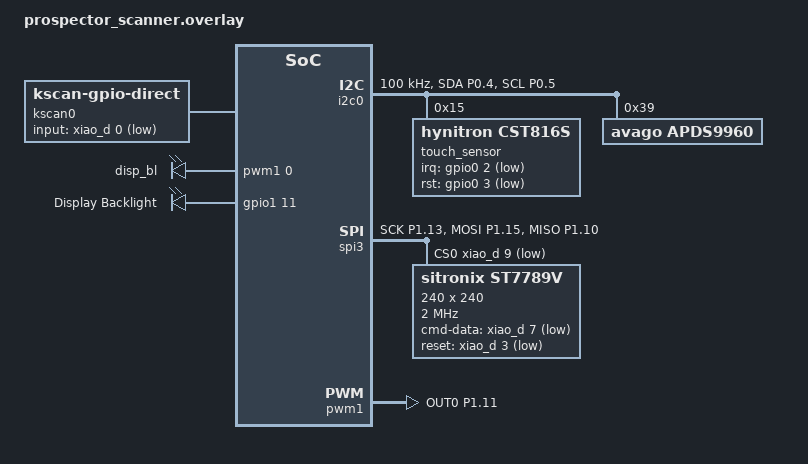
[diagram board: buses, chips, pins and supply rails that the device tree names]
/*
 * Copyright (c) 2024 The ZMK Contributors
 *
 * SPDX-License-Identifier: MIT
 */

#include <dt-bindings/zmk/matrix_transform.h>
#include <dt-bindings/i2c/i2c.h>
#include <physical_layouts.dtsi>


&i2c0 {
   status = "okay";
    touch_sensor: cst816s@15 {
        compatible = "hynitron,cst816s";
        reg = <0x15>;
        status = "okay";
        irq-gpios = <&gpio0 2 GPIO_ACTIVE_LOW>;   // D0 = P0.02
        rst-gpios = <&gpio0 3 GPIO_ACTIVE_LOW>;   // D1 = P0.03
    };
};

/ {
    touch_listener: touch_listener {
        status = "okay";
        compatible = "zmk,input-listener";
        device = <&touch_sensor>;
    };
};



/ {
    chosen {
        zmk,kscan = &kscan0;
        zmk,physical-layout = &default_layout;  // ZMK Studio compatibility: no matrix_transform!
        zephyr,display = &st7789v;
    };

    default_layout: default_layout {
        compatible = "zmk,physical-layout";
        display-name = "Scanner Layout";
        transform = <&default_transform>;

        keys  //                     w   h    x    y     rot    rx    ry
            = <&key_physical_attrs 100 100    0    0      0     0     0>
            ;
    };

    default_transform: keymap_transform_0 {
        compatible = "zmk,matrix-transform";
        columns = <1>;
        rows = <1>;
        map = <RC(0,0)>;
    };

    kscan0: kscan {
        compatible = "zmk,kscan-gpio-direct";
        wakeup-source;
        input-gpios = <&xiao_d 0 (GPIO_ACTIVE_LOW | GPIO_PULL_UP)>;
    };

    // PWM backlight configuration (Pin 6 = P1.11)
    pwmleds {
        compatible = "pwm-leds";
        disp_bl: pwm_led_1 {
            pwms = <&pwm1 0 PWM_MSEC(1) PWM_POLARITY_NORMAL>;  // Channel 0 for P1.11
        };
    };

    // Alternative: Simple GPIO backlight control (Pin 6 = P1.11)
    backlight: backlight {
        compatible = "gpio-leds";
        bl_gpio: backlight_gpio {
            gpios = <&gpio1 11 GPIO_ACTIVE_HIGH>;  // P1.11 for Pin 6
            label = "Display Backlight";
        };
    };

    // Ambient light sensor (optional)
    aliases {
        als = &apds9960;
    };
};

// Disable default SPI2 to avoid conflicts
&spi2 {
    status = "disabled";
};

// Custom pinctrl configuration to match original adapter
&pinctrl {
    spi3_default: spi3_default {
        group1 {
            psels = <NRF_PSEL(SPIM_SCK, 1, 13)>,
                <NRF_PSEL(SPIM_MOSI, 1, 15)>,
                <NRF_PSEL(SPIM_MISO, 1, 10)>;
        };
    };

    spi3_sleep: spi3_sleep {
        group1 {
            psels = <NRF_PSEL(SPIM_SCK, 1, 13)>,
                <NRF_PSEL(SPIM_MOSI, 1, 15)>,
                <NRF_PSEL(SPIM_MISO, 1, 10)>;
            low-power-enable;
        };
    };

    pwm1_default: pwm1_default {
        group1 {
            psels = <NRF_PSEL(PWM_OUT0, 1, 11)>;  // Pin 6 (D6) = P1.11 = Backlight PWM
            nordic,invert;
        };
    };

    pwm1_sleep: pwm1_sleep {
        group1 {
            psels = <NRF_PSEL(PWM_OUT0, 1, 11)>;  // Pin 6 (D6) = P1.11 = Backlight PWM
            low-power-enable;
        };
    };

    i2c0_default: i2c0_default {
        group1 {
            psels = <NRF_PSEL(TWIM_SDA, 0, 4)>,  // Pin 4 (D4) = P0.04 = SDA ✅ FIXED
                    <NRF_PSEL(TWIM_SCL, 0, 5)>;  // Pin 5 (D5) = P0.05 = SCL ✅ FIXED
        };
    };

    i2c0_sleep: i2c0_sleep {
        group1 {
            psels = <NRF_PSEL(TWIM_SDA, 0, 4)>,  // Pin 4 (D4) = P0.04 = SDA ✅ FIXED
                    <NRF_PSEL(TWIM_SCL, 0, 5)>;  // Pin 5 (D5) = P0.05 = SCL ✅ FIXED
            low-power-enable;
        };
    };
};

// Use SPI3 with custom pinctrl (matches original adapter)
disp_spi: &spi3 {
    status = "okay";
    pinctrl-0 = <&spi3_default>;
    pinctrl-1 = <&spi3_sleep>;
    pinctrl-names = "default", "sleep";
    cs-gpios = <&xiao_d 9 GPIO_ACTIVE_LOW>;

    st7789v: st7789v@0 {
        compatible = "sitronix,st7789v";
        reg = <0>;

        // ★ GC9A01 偽装で必須なのはここ
        spi-max-frequency = <2000000>;
        cmd-data-gpios = <&xiao_d 7 GPIO_ACTIVE_LOW>;
        reset-gpios    = <&xiao_d 3 GPIO_ACTIVE_LOW>;

        width  = <240>;
        height = <240>;
        x-offset = <0>;
        y-offset = <0>;
    };
};

// I2C configuration with correct Prospector pinouts
&i2c0 {
    status = "okay";
    pinctrl-0 = <&i2c0_default>;
    pinctrl-1 = <&i2c0_sleep>;
    pinctrl-names = "default", "sleep";
    clock-frequency = <I2C_BITRATE_STANDARD>; // 100kHz - most compatible speed

    apds9960: apds9960@39 {
        compatible = "avago,apds9960";
        status = "okay";
        reg = <0x39>;
        // Remove interrupt pin - might cause issues if not connected
        // int-gpios = <&xiao_d 2 (GPIO_ACTIVE_LOW | GPIO_PULL_UP)>;
    };
};

// PWM1 configuration for backlight (Pin 6 = P1.11)
&pwm1 {
    status = "okay";
    pinctrl-0 = <&pwm1_default>;
    pinctrl-1 = <&pwm1_sleep>;
    pinctrl-names = "default", "sleep";
};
